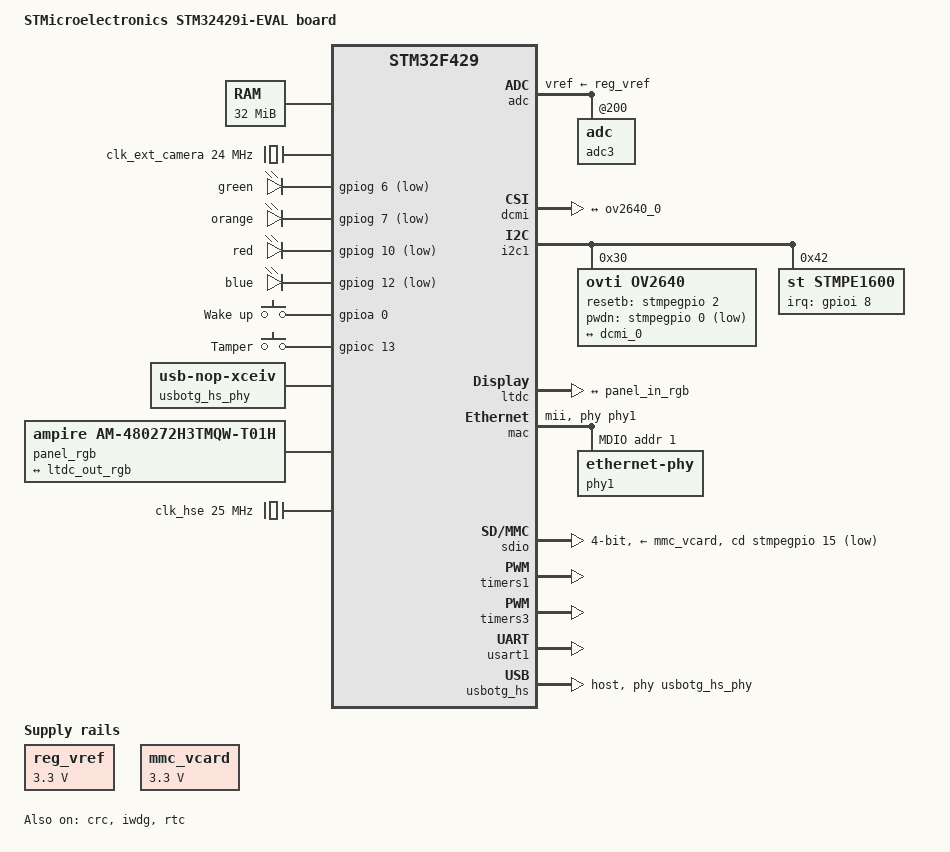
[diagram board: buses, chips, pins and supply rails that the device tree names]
// SPDX-License-Identifier: GPL-2.0+
/*
 * Copyright (C) 2015, STMicroelectronics - All Rights Reserved
 * Author: Maxime Coquelin <mcoquelin.stm32@gmail.com> for STMicroelectronics.
 */

/dts-v1/;
#include "stm32f429.dtsi"
#include "stm32f429-pinctrl.dtsi"
#include <dt-bindings/input/input.h>
#include <dt-bindings/gpio/gpio.h>

/ {
	model = "STMicroelectronics STM32429i-EVAL board";
	compatible = "st,stm32429i-eval", "st,stm32f429";

	chosen {
		bootargs = "root=/dev/ram";
		stdout-path = "serial0:115200n8";
	};

	memory {
		reg = <0x00000000 0x2000000>;
	};

	aliases {
		serial0 = &usart1;
	};

	clocks {
		clk_ext_camera: clk-ext-camera {
			#clock-cells = <0>;
			compatible = "fixed-clock";
			clock-frequency = <24000000>;
		};
	};

	soc {
		dma-ranges = <0xc0000000 0x0 0x10000000>;
	};

	regulators {
		compatible = "simple-bus";
		#address-cells = <1>;
		#size-cells = <0>;

		reg_vref: regulator@0 {
			compatible = "regulator-fixed";
			reg = <0>;
			regulator-name = "vref";
			regulator-min-microvolt = <3300000>;
			regulator-max-microvolt = <3300000>;
		};
	};

	leds {
		compatible = "gpio-leds";
		green {
			gpios = <&gpiog 6 1>;
			linux,default-trigger = "heartbeat";
		};
		orange {
			gpios = <&gpiog 7 1>;
		};
		red {
			gpios = <&gpiog 10 1>;
		};
		blue {
			gpios = <&gpiog 12 1>;
		};
	};

	gpio_keys {
		compatible = "gpio-keys";
		#size-cells = <0>;
		autorepeat;
		button@0 {
			label = "Wake up";
			linux,code = <KEY_WAKEUP>;
			gpios = <&gpioa 0 0>;
		};
		button@1 {
			label = "Tamper";
			linux,code = <KEY_RESTART>;
			gpios = <&gpioc 13 0>;
		};
	};

	usbotg_hs_phy: usbphy {
		#phy-cells = <0>;
		compatible = "usb-nop-xceiv";
		clocks = <&rcc 0 STM32F4_AHB1_CLOCK(OTGHSULPI)>;
		clock-names = "main_clk";
	};

	panel_rgb: panel-rgb {
		compatible = "ampire,am-480272h3tmqw-t01h";
		status = "okay";
		port {
			panel_in_rgb: endpoint {
				remote-endpoint = <&ltdc_out_rgb>;
			};
		};
	};

	mmc_vcard: mmc_vcard {
		compatible = "regulator-fixed";
		regulator-name = "mmc_vcard";
		regulator-min-microvolt = <3300000>;
		regulator-max-microvolt = <3300000>;
	};
};

&adc {
	pinctrl-names = "default";
	pinctrl-0 = <&adc3_in8_pin>;
	vref-supply = <&reg_vref>;
	status = "okay";
	adc3: adc@200 {
		st,adc-channels = <8>;
		status = "okay";
	};
};

&clk_hse {
	clock-frequency = <25000000>;
};

&crc {
	status = "okay";
};

&dcmi {
	status = "okay";

	port {
		dcmi_0: endpoint {
			remote-endpoint = <&ov2640_0>;
			bus-width = <8>;
			hsync-active = <0>;
			vsync-active = <0>;
			pclk-sample = <1>;
		};
	};
};

&i2c1 {
	pinctrl-0 = <&i2c1_pins>;
	pinctrl-names = "default";
	status = "okay";

	ov2640: camera@30 {
		compatible = "ovti,ov2640";
		reg = <0x30>;
		resetb-gpios = <&stmpegpio 2 GPIO_ACTIVE_HIGH>;
		pwdn-gpios = <&stmpegpio 0 GPIO_ACTIVE_LOW>;
		clocks = <&clk_ext_camera>;
		clock-names = "xvclk";
		status = "okay";

		port {
			ov2640_0: endpoint {
				remote-endpoint = <&dcmi_0>;
			};
		};
	};

	stmpe1600: stmpe1600@42 {
		compatible = "st,stmpe1600";
		reg = <0x42>;
		interrupts = <8 3>;
		interrupt-parent = <&gpioi>;
		interrupt-controller;
		wakeup-source;

		stmpegpio: stmpe_gpio {
			compatible = "st,stmpe-gpio";
			gpio-controller;
			#gpio-cells = <2>;
		};
	};
};

&iwdg {
	status = "okay";
	timeout-sec = <32>;
};

&ltdc {
	status = "okay";
	pinctrl-0 = <&ltdc_pins>;
	pinctrl-names = "default";
	dma-ranges;

	port {
		ltdc_out_rgb: endpoint {
			remote-endpoint = <&panel_in_rgb>;
		};
	};
};

&mac {
	status = "okay";
	pinctrl-0	= <&ethernet_mii>;
	pinctrl-names	= "default";
	phy-mode	= "mii";
	phy-handle	= <&phy1>;
	mdio0 {
		#address-cells = <1>;
		#size-cells = <0>;
		compatible = "snps,dwmac-mdio";
		phy1: ethernet-phy@1 {
			reg = <1>;
		};
	};
};

&rtc {
	status = "okay";
};

&sdio {
	status = "okay";
	vmmc-supply = <&mmc_vcard>;
	cd-gpios = <&stmpegpio 15 GPIO_ACTIVE_LOW>;
	pinctrl-names = "default", "opendrain";
	pinctrl-0 = <&sdio_pins>;
	pinctrl-1 = <&sdio_pins_od>;
	bus-width = <4>;
	max-frequency = <14000000>;
};

&timers1 {
	status = "okay";

	pwm {
		pinctrl-0 = <&pwm1_pins>;
		pinctrl-names = "default";
		status = "okay";
	};

	timer@0 {
		status = "okay";
	};
};

&timers3 {
	status = "okay";

	pwm {
		pinctrl-0 = <&pwm3_pins>;
		pinctrl-names = "default";
		status = "okay";
	};

	timer@2 {
		status = "okay";
	};
};

&usart1 {
	pinctrl-0 = <&usart1_pins_a>;
	pinctrl-names = "default";
	status = "okay";
};

&usbotg_hs {
	dr_mode = "host";
	phys = <&usbotg_hs_phy>;
	phy-names = "usb2-phy";
	pinctrl-0 = <&usbotg_hs_pins_a>;
	pinctrl-names = "default";
	status = "okay";
};
